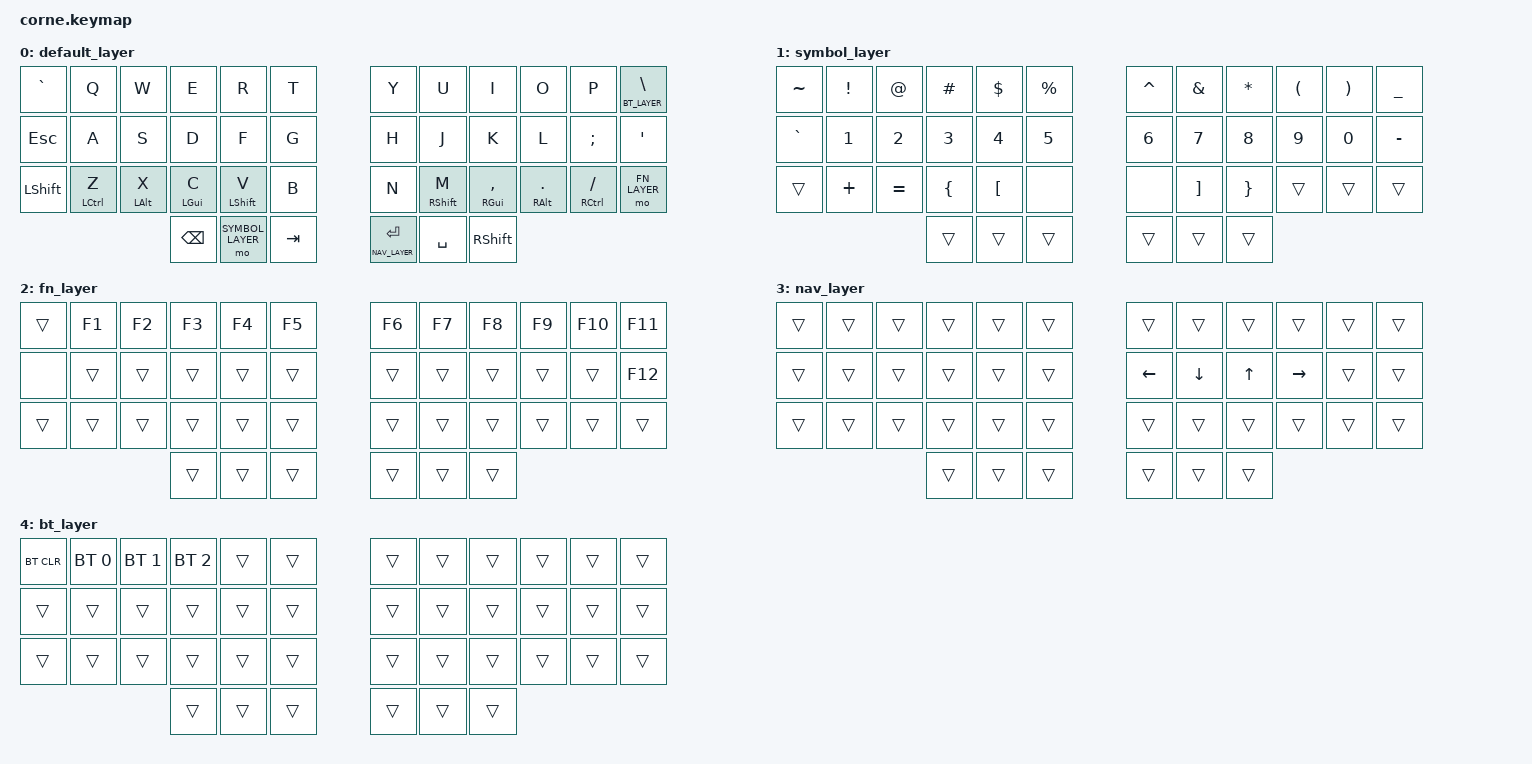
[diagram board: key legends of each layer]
/*
 * Copyright (c) 2020 The ZMK Contributors
 *
 * SPDX-License-Identifier: MIT
 */

#include <behaviors.dtsi>
#include <dt-bindings/zmk/keys.h>
#include <dt-bindings/zmk/bt.h>

#include <zmk-helpers/key-labels/42.h>

#define DEFAULT_LAYER 0
#define SYMBOL_LAYER 1
#define FN_LAYER 2
#define NAV_LAYER 3
#define BT_LAYER 4

#define LEFT_KEYS LT0 LT1 LT2 LT3 LT4 LT5 LM0 LM1 LM2 LM3 LM4 LM5 LB0 LB1 LB2 LB3 LB4 LB5
#define RIGHT_KEYS RT0 RT1 RT2 RT3 RT4 RT5 RM0 RM1 RM2 RM3 RM4 RM5 RB0 RB1 RB2 RB3 RB4 RB5
#define THUMB_KEYS LH2 LH1 LH0 RH0 RH1 RH2

/ {
        behaviors {
                hml: home_row_mod_left {
                        compatible = "zmk,behavior-hold-tap";
                        #binding-cells = <2>;
                        flavor = "balanced";
                        require-prior-idle-ms = <150>;
                        tapping-term-ms = <280>;
                        quick-tap-ms = <175>;
                        bindings = <&kp>, <&kp>;
                        hold-trigger-key-positions = <RIGHT_KEYS THUMB_KEYS>; // List of keys on the right side of the keyboard
                        hold-trigger-on-release;
                };
                hmr: home_row_mod_right {
                        compatible = "zmk,behavior-hold-tap";
                        #binding-cells = <2>;
                        flavor = "balanced";
                        require-prior-idle-ms = <150>;
                        tapping-term-ms = <280>;
                        quick-tap-ms = <175>;
                        bindings = <&kp>, <&kp>;
                        hold-trigger-key-positions = <LEFT_KEYS THUMB_KEYS>; // List of keys on the left side of the keyboard
                        hold-trigger-on-release;
                };
        };

        keymap {
                compatible = "zmk,keymap";

                default_layer {
// -----------------------------------------------------------------------------------------
// | GRAVE |  Q  |  W  |  E  |  R  |  T  |   |  Y  |  U   |  I  |  O  |  P  | BSPC |
// | CTRL  |  A  |  S  |  D  |  F  |  G  |   |  H  |  J   |  K  |  L  |  ;  |  '   |
// | SHFT  |  Z  |  X  |  C  |  V  |  B  |   |  N  |  M   |  ,  |  .  |  /  | ESC  |
//                     | GUI | LWR | SPC |   | ENT | SPC  | ALT |
                        bindings = <
   &kp GRAVE &kp Q        &kp W       &kp E            &kp R        &kp T                &kp Y     &kp U        &kp I           &kp O         &kp P           &lt BT_LAYER BSLH
   &kp ESC   &kp A        &kp S       &kp D            &kp F        &kp G                &kp H     &kp J        &kp K           &kp L         &kp SEMI        &kp SQT
   &kp LSHFT &hml LCTRL Z &hml LALT X &hml LGUI C      &hml LSHFT V &kp B                &kp N     &hmr RSHFT M &hmr RGUI COMMA &hmr RALT DOT &hmr RCTRL FSLH &mo FN_LAYER
                          &kp BSPC    &mo SYMBOL_LAYER &kp TAB      &lt NAV_LAYER RET    &kp SPACE &kp RSHFT
                        >;
                };

                symbol_layer {
// -----------------------------------------------------------------------------------------
// |  TAB |  1  |  2  |  3  |  4  |  5  |   |  6  |  7  |  8  |  9  |  0  | BSPC |
// | BTCLR| BT1 | BT2 | BT3 | BT4 | BT5 |   | LFT | DWN |  UP | RGT |     |      |
// | SHFT |     |     |     |     |     |   |     |     |     |     |     |      |
//                    | GUI |     | SPC |   | ENT |     | ALT |
                        bindings = <
   &kp TILDE  &kp EXCL     &kp AT       &kp HASH     &kp DLLR     &kp PRCNT      &kp CARET &kp AMPS &kp ASTRK &kp LPAR  &kp RPAR &kp UNDER
   &kp GRAVE  &kp N1       &kp N2       &kp N3       &kp N4       &kp N5         &kp N6    &kp N7   &kp N8    &kp N9    &kp N0   &kp MINUS
   &trans     &kp PLUS     &kp EQUAL    &kp LBRC     &kp LBKT     &none          &none     &kp RBKT &kp RBRC  &trans    &trans   &trans
                                        &trans       &trans       &trans         &trans    &trans   &trans
                        >;
                };

                fn_layer {
// -----------------------------------------------------------------------------------------
// |  TAB |  !  |  @  |  #  |  $  |  %  |   |  ^  |  &  |  *  |  (  |  )  | BSPC |
// | CTRL |     |     |     |     |     |   |  -  |  =  |  [  |  ]  |  \  |  `   |
// | SHFT |     |     |     |     |     |   |  _  |  +  |  {  |  }  | "|" |  ~   |
//                    | GUI |     | SPC |   | ENT |     | ALT |
                        bindings = <
&trans    &kp F1   &kp F2 &kp F3   &kp F4   &kp F5      &kp F6    &kp F7    &kp F8    &kp F9   &kp F10  &kp F11
&none     &trans   &trans &trans   &trans   &trans      &trans    &trans    &trans    &trans   &trans   &kp F12
&trans    &trans   &trans &trans   &trans   &trans      &trans    &trans    &trans    &trans   &trans   &trans
                          &trans   &trans   &trans      &trans    &trans    &trans
                        >;
                };

                nav_layer {
// -----------------------------------------------------------------------------------------
// |  TAB |  !  |  @  |  #  |  $  |  %  |   |  ^  |  &  |  *  |  (  |  )  | BSPC |
// | CTRL |     |     |     |     |     |   |  -  |  =  |  [  |  ]  |  \  |  `   |
// | SHFT |     |     |     |     |     |   |  _  |  +  |  {  |  }  | "|" |  ~   |
//                    | GUI |     | SPC |   | ENT |     | ALT |
                        bindings = <
&trans    &trans   &trans &trans   &trans   &trans      &trans    &trans    &trans    &trans    &trans   &trans
&trans    &trans   &trans &trans   &trans   &trans      &kp LEFT  &kp DOWN  &kp UP    &kp RIGHT &trans   &trans
&trans    &trans   &trans &trans   &trans   &trans      &trans    &trans    &trans    &trans    &trans   &trans
                          &trans   &trans   &trans      &trans    &trans    &trans
                        >;
                };

                bt_layer {
// -----------------------------------------------------------------------------------------
// |  TAB |  !  |  @  |  #  |  $  |  %  |   |  ^  |  &  |  *  |  (  |  )  | BSPC |
// | CTRL |     |     |     |     |     |   |  -  |  =  |  [  |  ]  |  \  |  `   |
// | SHFT |     |     |     |     |     |   |  _  |  +  |  {  |  }  | "|" |  ~   |
//                    | GUI |     | SPC |   | ENT |     | ALT |
                        bindings = <
&bt BT_CLR &bt BT_SEL 0 &bt BT_SEL 1 &bt BT_SEL 2 &trans   &trans      &trans    &trans    &trans    &trans    &trans   &trans
&trans     &trans       &trans       &trans       &trans   &trans      &trans    &trans    &trans    &trans    &trans   &trans
&trans     &trans       &trans       &trans       &trans   &trans      &trans    &trans    &trans    &trans    &trans   &trans
                                     &trans       &trans   &trans      &trans    &trans    &trans
                        >;
                };
        };
};
